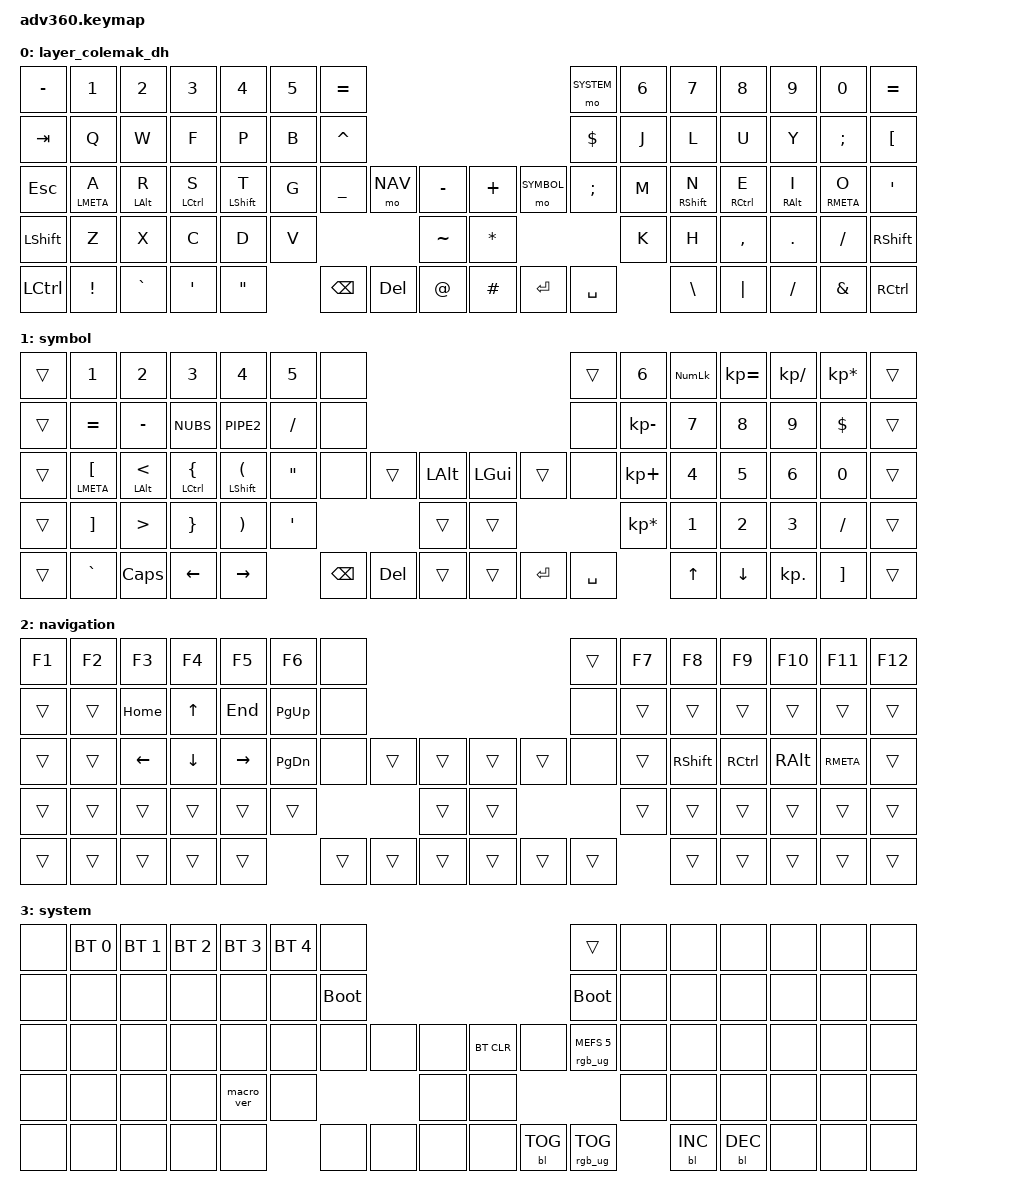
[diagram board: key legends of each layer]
#include <behaviors.dtsi>
#include <dt-bindings/zmk/keys.h>
#include <dt-bindings/zmk/bt.h>
#include <dt-bindings/zmk/rgb.h>
#include <dt-bindings/zmk/backlight.h>
#define TYPE   0
#define SYMBOL 1
#define NAV    2
#define SYSTEM 3

/ {
    behaviors {
      #include "macros.dtsi"
      #include "version.dtsi"
      #ifndef VERSION_MACRO
      macro_ver: macro_ver {
        compatible = "zmk,behavior-macro";
        label = "macro_version";
        #binding-cells = <0>;
        bindings = <&kp RET>;
      };
      #endif

      hm: homerow_mods {
          compatible = "zmk,behavior-hold-tap";
          label = "HOMEROW_MODS";
          #binding-cells = <2>;
          tapping-term-ms = <200>;
          quick_tap_ms = <0>;
          flavor = "balanced";
          bindings = <&kp>, <&kp>;
      };
    };

  keymap {
    compatible = "zmk,keymap";

    layer_colemak_dh {
      bindings = <
        &kp MINUS &kp N1      &kp N2     &kp N3      &kp N4      &kp N5 &kp EQUAL                                              &mo SYSTEM    &kp N6  &kp N7      &kp N8      &kp N9      &kp N0         &kp EQUAL
        &kp TAB   &kp Q       &kp W      &kp F       &kp P       &kp B  &kp CARET                                              &kp DOLLAR    &kp J   &kp L       &kp U       &kp Y       &kp SEMICOLON  &kp LBKT
        &kp ESC   &hm LMETA A &hm LALT R &hm LCTRL S &hm LSHFT T &kp G  &kp UNDERSCORE &mo NAV &kp MINUS &kp PLUS   &mo SYMBOL &kp SEMICOLON &kp M   &hm RSHFT N &hm RCTRL E &hm RALT I  &hm RMETA O    &kp SQT
        &kp LSHFT &kp Z       &kp X      &kp C       &kp D       &kp V                         &kp TILDE &kp STAR                            &kp K   &kp H       &kp COMMA   &kp PERIOD  &kp SLASH      &kp RSHFT
        &kp LCTRL &kp EXCL    &kp GRAVE  &kp SQT     &kp DQT            &kp BSPC       &kp DEL &kp AT    &kp HASH   &kp ENTER  &kp SPACE             &kp BSLH    &kp PIPE    &kp SLASH   &kp AMPS       &kp RCTRL
      >;
    };

    symbol {
      bindings = <
        &trans &kp N1         &kp N2      &kp N3         &kp N4         &kp N5     &none                                        &trans &kp N6          &kp KP_NUM &kp KP_EQUAL &kp KP_DIVIDE &kp KP_MULTIPLY &trans
        &trans &kp EQUAL      &kp MINUS   &kp NUBS       &kp PIPE2      &kp SLASH  &none                                        &none  &kp KP_MINUS    &kp N7     &kp N8       &kp N9        &kp DLLR        &trans
        &trans &hm LMETA LBKT &hm LALT LT &hm LCTRL LBRC &hm LSHFT LPAR &kp DQT    &none    &trans  &kp LALT &kp LGUI &trans    &none  &kp KP_PLUS     &kp N4     &kp N5       &kp N6        &kp N0          &trans
        &trans &kp RBKT       &kp GT      &kp RBRC       &kp RPAR       &kp SQT                     &trans   &trans                    &kp KP_MULTIPLY &kp N1     &kp N2       &kp N3        &kp SLASH       &trans
        &trans &kp GRAVE      &kp CAPS    &kp LEFT       &kp RIGHT                 &kp BSPC &kp DEL &trans   &trans   &kp ENTER &kp SPACE              &kp UP     &kp DOWN     &kp KP_DOT    &kp RBKT        &trans
      >;
    };
    navigation {
      bindings = <
        &kp F1 &kp F2 &kp F3   &kp F4   &kp F5    &kp F6    &none                                &trans &kp F7 &kp F8    &kp F9    &kp F10   &kp F11    &kp F12
        &trans &trans &kp HOME &kp UP   &kp END   &kp PG_UP &none                                &none  &trans &trans    &trans    &trans    &trans     &trans
        &trans &trans &kp LEFT &kp DOWN &kp RIGHT &kp PG_DN &none  &trans &trans   &trans &trans &none  &trans &kp RSHFT &kp RCTRL &kp RALT  &kp RMETA  &trans
        &trans &trans &trans   &trans   &trans    &trans                  &trans   &trans               &trans &trans    &trans    &trans    &trans     &trans
        &trans &trans &trans   &trans   &trans              &trans &trans &trans   &trans &trans &trans        &trans    &trans    &trans    &trans     &trans
      >;
    };
    system {
      bindings = <
        &none &bt BT_SEL 0 &bt BT_SEL 1 &bt BT_SEL 2 &bt BT_SEL 3 &bt BT_SEL 4 &none                                   &trans                 &none        &none        &none        &none &none &none
        &none &none        &none        &none        &none        &none        &bootloader                             &bootloader            &none        &none        &none        &none &none &none
        &none &none        &none        &none        &none        &none        &none &none &none &bt BT_CLR &none      &rgb_ug RGB_MEFS_CMD 5 &none        &none        &none        &none &none &none
        &none &none        &none        &none        &macro_ver   &none                    &none &none                                        &none        &none        &none        &none &none &none
        &none &none        &none        &none        &none                     &none &none &none &none      &bl BL_TOG &rgb_ug RGB_TOG                     &bl BL_INC   &bl BL_DEC   &none &none &none
      >;
    };
  };
};
